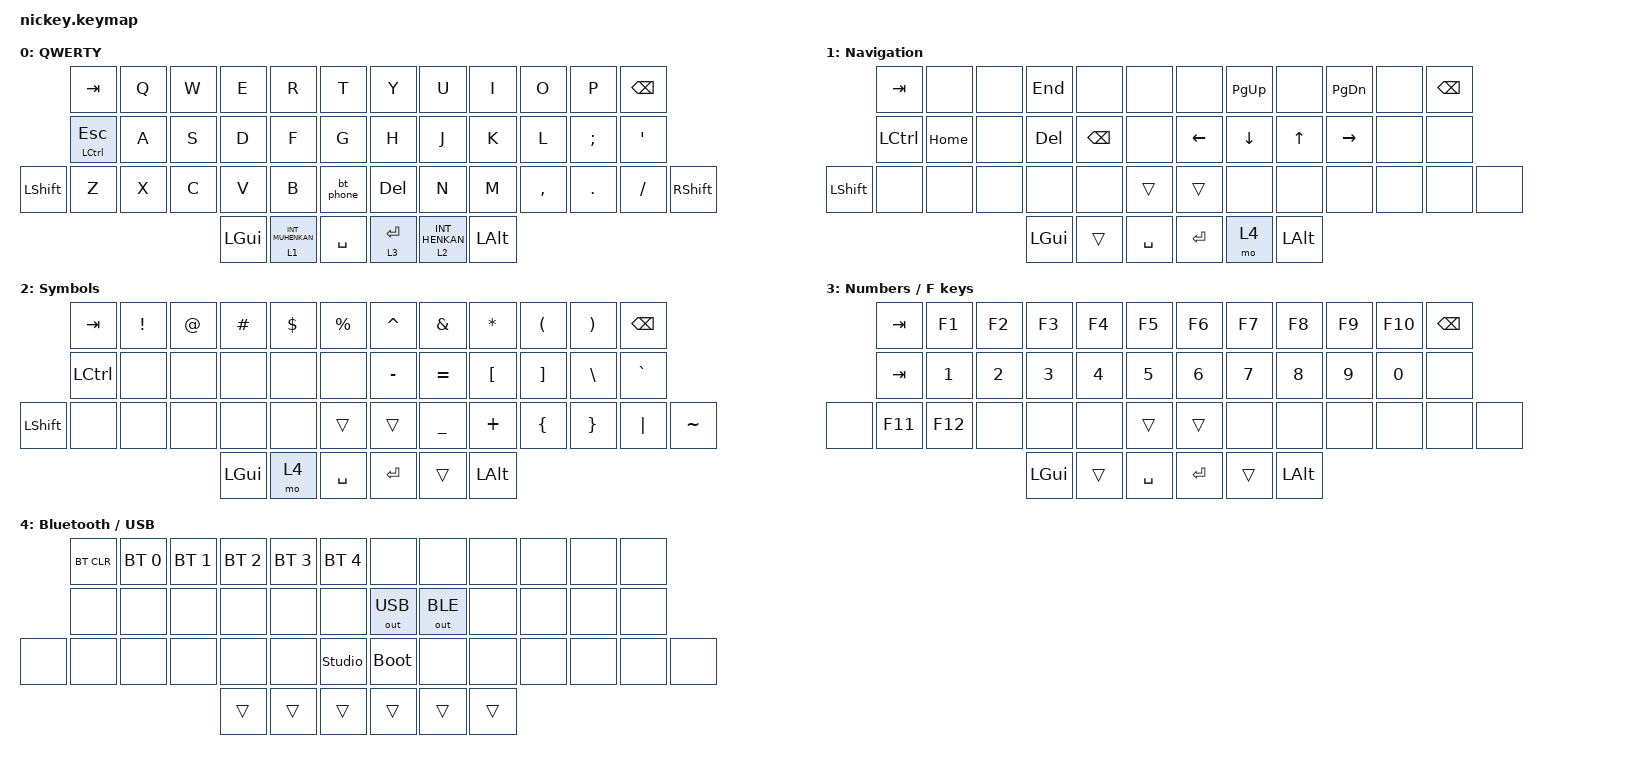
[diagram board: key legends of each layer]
/*
 * SPDX-License-Identifier: GPL-2.0-or-later
 * Copyright 2019 @foostan
 * Copyright 2020 Drashna Jaelre <@drashna>
 *
 * Adapted from goshoyuta/qmk_firmware:
 * keyboards/crkbd/keymaps/my_keymaps/keymap.c
 * Source revision: 955a8d658c839dd47f973bd6e6fea42cbbe7641a
 * Original Corne positions are preserved; Nickey44 adds positions 30 and 31.
 */

#include <behaviors.dtsi>
#include <dt-bindings/zmk/bt.h>
#include <dt-bindings/zmk/keys.h>
#include <dt-bindings/zmk/outputs.h>

// QMK PERMISSIVE_HOLD and RETRO_TAPPING, with its default 200 ms tapping term.
// Quick-tap timing is an approximation: QMK and ZMK measure it differently.
&mt {
    flavor = "balanced";
    tapping-term-ms = <200>;
    quick-tap-ms = <200>;
    retro-tap;
};

&lt {
    flavor = "balanced";
    tapping-term-ms = <200>;
    quick-tap-ms = <200>;
    retro-tap;
};

/ {
    macros {
        bt_phone: bt_phone {
            compatible = "zmk,behavior-macro";
            #binding-cells = <0>;
            wait-ms = <0>;
            bindings = <&macro_press>, <&bt BT_SEL 0>, <&out OUT_BLE>;
        };
    };

    keymap {
        compatible = "zmk,keymap";

        default_layer {
            display-name = "QWERTY";
            bindings = <
                &kp TAB  &kp Q  &kp W  &kp E  &kp R  &kp T    &kp Y  &kp U  &kp I  &kp O  &kp P  &kp BSPC
                &mt LCTRL ESC  &kp A  &kp S  &kp D  &kp F  &kp G    &kp H  &kp J  &kp K  &kp L  &kp SEMI  &kp SQT
                &kp LSHFT  &kp Z  &kp X  &kp C  &kp V  &kp B  &bt_phone    &kp DELETE  &kp N  &kp M  &kp COMMA  &kp DOT  &kp FSLH  &kp RSHFT
                &kp LGUI  &lt 1 INT_MUHENKAN  &kp SPACE  &lt 3 RET  &lt 2 INT_HENKAN  &kp LALT
            >;
        };

        lower_layer {
            display-name = "Navigation";
            bindings = <
                &kp TAB  &none  &none  &kp END  &none  &none    &none  &kp PG_UP  &none  &kp PG_DN  &none  &kp BSPC
                &kp LCTRL  &kp HOME  &none  &kp DEL  &kp BSPC  &none    &kp LEFT  &kp DOWN  &kp UP  &kp RIGHT  &none  &none
                &kp LSHFT  &none  &none  &none  &none  &none  &trans    &trans  &none  &none  &none  &none  &none  &none
                &kp LGUI  &trans  &kp SPACE  &kp RET  &mo 4  &kp LALT
            >;
        };

        raise_layer {
            display-name = "Symbols";
            bindings = <
                &kp TAB  &kp EXCL  &kp AT  &kp HASH  &kp DLLR  &kp PRCNT    &kp CARET  &kp AMPS  &kp ASTRK  &kp LPAR  &kp RPAR  &kp BSPC
                &kp LCTRL  &none  &none  &none  &none  &none    &kp MINUS  &kp EQUAL  &kp LBKT  &kp RBKT  &kp BSLH  &kp GRAVE
                &kp LSHFT  &none  &none  &none  &none  &none  &trans    &trans  &kp UNDER  &kp PLUS  &kp LBRC  &kp RBRC  &kp PIPE  &kp TILDE
                &kp LGUI  &mo 4  &kp SPACE  &kp RET  &trans  &kp LALT
            >;
        };

        number_layer {
            display-name = "Numbers / F keys";
            bindings = <
                &kp TAB  &kp F1  &kp F2  &kp F3  &kp F4  &kp F5    &kp F6  &kp F7  &kp F8  &kp F9  &kp F10  &kp BSPC
                &kp TAB  &kp N1  &kp N2  &kp N3  &kp N4  &kp N5    &kp N6  &kp N7  &kp N8  &kp N9  &kp N0  &none
                &none  &kp F11  &kp F12  &none  &none  &none  &trans    &trans  &none  &none  &none  &none  &none  &none
                &kp LGUI  &trans  &kp SPACE  &kp RET  &trans  &kp LALT
            >;
        };

        adjust_layer {
            display-name = "Bluetooth / USB";
            bindings = <
                &bt BT_CLR  &bt BT_SEL 0  &bt BT_SEL 1  &bt BT_SEL 2  &bt BT_SEL 3  &bt BT_SEL 4    &none  &none  &none  &none  &none  &none
                &none  &none  &none  &none  &none  &none    &out OUT_USB  &out OUT_BLE  &none  &none  &none  &none
                &none  &none  &none  &none  &none  &none  &studio_unlock    &bootloader  &none  &none  &none  &none  &none  &none
                &trans  &trans  &trans  &trans  &trans  &trans
            >;
        };
    };
};
